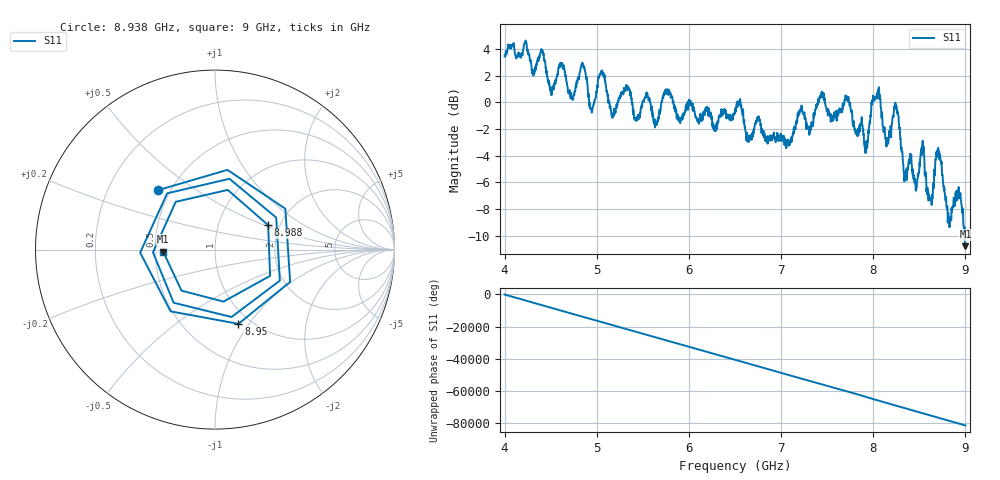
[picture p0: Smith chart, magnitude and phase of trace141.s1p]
! Created with skrf 1.8.0 (http://scikit-rf.org).
# Hz S RI R 50.0
!freq ReS11 ImS11
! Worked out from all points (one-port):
!   1601 points, 4 GHz to 9 GHz, reference 50 ohm
!   lowest |S11| = -10.8 dB at 9 GHz (marker M1), VSWR 1.81, Z = 27.6 - j0.644 ohm
!   |S11| at or under -10 dB: 8.99248 GHz to end of sweep
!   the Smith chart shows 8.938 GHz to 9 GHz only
!   S11 on the Smith chart (normalised r, x): 8.938 GHz: 0.43, +0.36; 8.95 GHz: 0.88, -0.89; 8.988 GHz: 1.74, +0.53; 9 GHz: 0.55, -0.01
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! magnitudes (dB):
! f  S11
! 4 GHz  3.5
! 4.406 GHz  3.8
! 4.512 GHz  0.9
! 4.625 GHz  2.9
! 4.734 GHz  0.4
! 4.853 GHz  2.8
! 4.941 GHz  -0.5
! 5.05 GHz  2.4
! 5.166 GHz  -1.1
! 5.25 GHz  0.5
! 5.875 GHz  -0.9
! 6.5 GHz  -0.8
! 7.125 GHz  -2.5
! 7.441 GHz  0.6
! 7.75 GHz  -0.1
! 7.919 GHz  -3.7
! 8.038 GHz  0.5
! 8.144 GHz  -3.0
! 8.25 GHz  -0.2
! 8.375 GHz  -5.0
! 8.531 GHz  -3.3
! 8.619 GHz  -7.2
! 8.706 GHz  -3.5
! 8.822 GHz  -8.7
! 8.938 GHz  -6.8
! 8.95 GHz  -7.3
! 8.988 GHz  -9.7
! 9 GHz  -10.8
